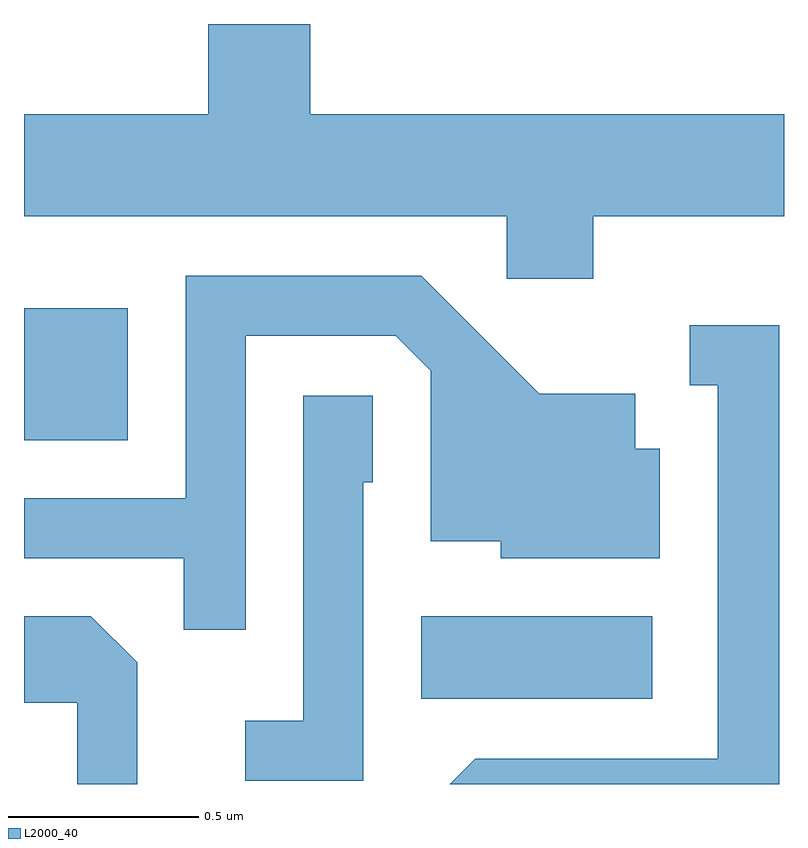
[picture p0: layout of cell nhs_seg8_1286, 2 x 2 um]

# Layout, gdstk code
import gdstk
lib = gdstk.Library(unit=1e-6, precision=1e-09)
def R(c, l, rs):  # rectangles x0, y0, x1, y1
    for r in rs: c.add(gdstk.rectangle(r[:2], r[2:], *l))
def P(c, l, *ps):  # polygons
    for p in ps: c.add(gdstk.Polygon(p, *l))
L2000_40 = (2000, 40)

nhs_seg8_1286 = lib.new_cell('nhs_seg8_1286')
R(nhs_seg8_1286, L2000_40, [(195.656,1859.566,196.264,1859.784), (194.611,1860.246,194.884,1860.594)])
P(nhs_seg8_1286, L2000_40, [(196.109,1860.836),(196.611,1860.836),(196.611,1861.104),(195.364,1861.104),(195.364,1861.342),(195.096,1861.342),(195.096,1861.104),(194.611,1861.104),(194.611,1860.836),(195.881,1860.836),(195.881,1860.671),(196.109,1860.671)],
  [(195.194,1860.521),(195.589,1860.521),(195.681,1860.429),(195.681,1859.981),(195.866,1859.981),(195.866,1859.936),(196.284,1859.936),(196.284,1860.224),(196.219,1860.224),(196.219,1860.369),(195.967,1860.369),(195.657,1860.679),(195.036,1860.679),(195.036,1860.094),(194.611,1860.094),(194.611,1859.936),(195.031,1859.936),(195.031,1859.748),(195.194,1859.748)],
  [(196.599,1860.549),(196.363,1860.549),(196.363,1860.391),(196.436,1860.391),(196.436,1859.409),(195.799,1859.409),(195.732,1859.342),(196.599,1859.342)],
  [(195.504,1860.136),(195.529,1860.136),(195.529,1860.364),(195.346,1860.364),(195.346,1859.509),(195.193,1859.509),(195.193,1859.351),(195.504,1859.351)],
  [(194.909,1859.662),(194.787,1859.784),(194.611,1859.784),(194.611,1859.556),(194.751,1859.556),(194.751,1859.342),(194.909,1859.342)])

lib.write_gds('nhs_seg8_1286.gds')
